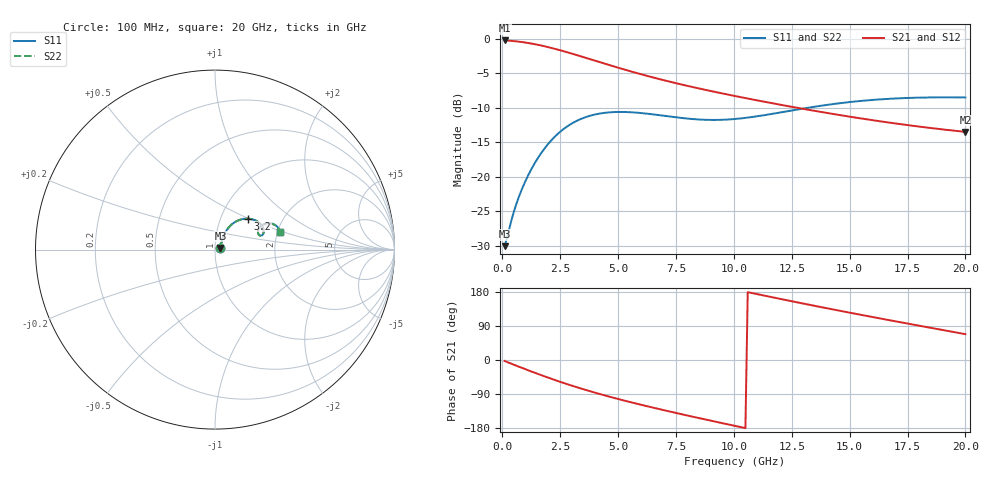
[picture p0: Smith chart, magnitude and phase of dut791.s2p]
! Touchstone file exported from HFSS 2024.1.0
!  File:  C:/UserFiles/LocalFiles/RDL_TSV_Batchsim/temp_RDL_TSV_791_1779908124.aedt
!  Generated:  03:14:43 AM May 28, 2026
!  Design:  RDL_TSV
!  Project:  temp_RDL_TSV_791_1779908124
!  Setup:  Setup1
!  Solution:  Sweep
! Variables:
!  dtsv = 7.72um
!  hbump = 3um
!  htsv = 86.12um
!  ldown = 673.03um
!  lrdl = 565.84um
!  p = 40
!  p1 = 58.8um
!  rhole = 10um
!  subl = 4282.45um
!  t = 450um
!  tdown = 2.77um
!  trdl = 2.38um
!  viad = 10um
!  wdown = 15.33um
!  wrdl = 25.53um
!  xbump = 18um
# GHz S MA R 50.000000
! Terminal data exported
! Port[1] = TM1_1_T1
! Port[2] = TM1_4_T1
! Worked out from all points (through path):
!   200 points, 100 MHz to 20 GHz, reference 50 ohm
!   highest |S21| = -0.28 dB at 100 MHz (marker M1); lowest = -13.5 dB at 20 GHz (marker M2)
!   group delay of S21, straight-line fit = 38.4 ps
!   lowest |S11| = -30.1 dB at 100 MHz (marker M3), VSWR 1.06, Z = 53.1 + j0.962 ohm
!   |S11| at or under -10 dB: start of sweep to 13.25 GHz
!   |S22| runs from -30.1 to -8.6 dB; largest |S21 - S12| = 5.9e-15
!   S11 on the Smith chart (normalised r, x): 100 MHz: 1.06, +0.02; 3.2 GHz: 1.35, +0.50; 20 GHz: 2.06, +0.46
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0.1  0.03132 16.8  0.9688 -2.5  0.9688 -2.5  0.03126 16.7
! Gamma 0 0 0 0
! Port Impedance 50 0 50 0
0.5  0.05565 48.7  0.9584 -12.4  0.9584 -12.4  0.05542 48.7
0.7  0.07008 54.0  0.9504 -17.3  0.9504 -17.3  0.06978 54.0
1  0.0928 57.9  0.9355 -24.4  0.9355 -24.4  0.09239 57.9
1.4  0.1249 59.0  0.9107 -33.7  0.9107 -33.7  0.1244 59.1
1.8  0.1578 57.4  0.8813 -42.6  0.8813 -42.6  0.1572 57.4
2.3  0.1969 53.1  0.8401 -53.4  0.8401 -53.4  0.1963 53.1
2.7  0.2245 48.8  0.8051 -61.7  0.8051 -61.7  0.2239 48.8
3.2  0.2527 43.1  0.7606 -71.5  0.7606 -71.5  0.252 43.1
3.5  0.2658 39.7  0.7343 -77.1  0.7343 -77.1  0.2651 39.7
4.3  0.2878 31.5  0.6675 -91.3  0.6675 -91.3  0.287 31.4
5.1  0.294 24.9  0.6081 -104.5  0.6081 -104.5  0.2931 24.8
5.9  0.2896 20.2  0.5567 -116.8  0.5567 -116.8  0.2887 20.2
6.8  0.2783 17.4  0.5077 -129.9  0.5077 -129.9  0.2774 17.3
8.3  0.2604 17.9  0.4422 -150.7  0.4422 -150.7  0.2595 17.9
10.1  0.2618 23.4  0.3819 -174.5  0.3819 -174.5  0.2609 23.4
11.8  0.2874 27.1  0.3365 163.8  0.3365 163.8  0.2864 27.0
13.4  0.3191 27.1  0.3011 144.0  0.3011 144.0  0.318 27.0
15  0.3466 24.8  0.2717 124.9  0.2717 124.9  0.3454 24.7
16.7  0.366 21.3  0.2462 105.2  0.2462 105.2  0.3646 21.2
18.3  0.3741 17.9  0.2269 87.2  0.2269 87.2  0.3727 17.8
20  0.3741 15.0  0.2107 68.2  0.2107 68.2  0.3727 14.9
